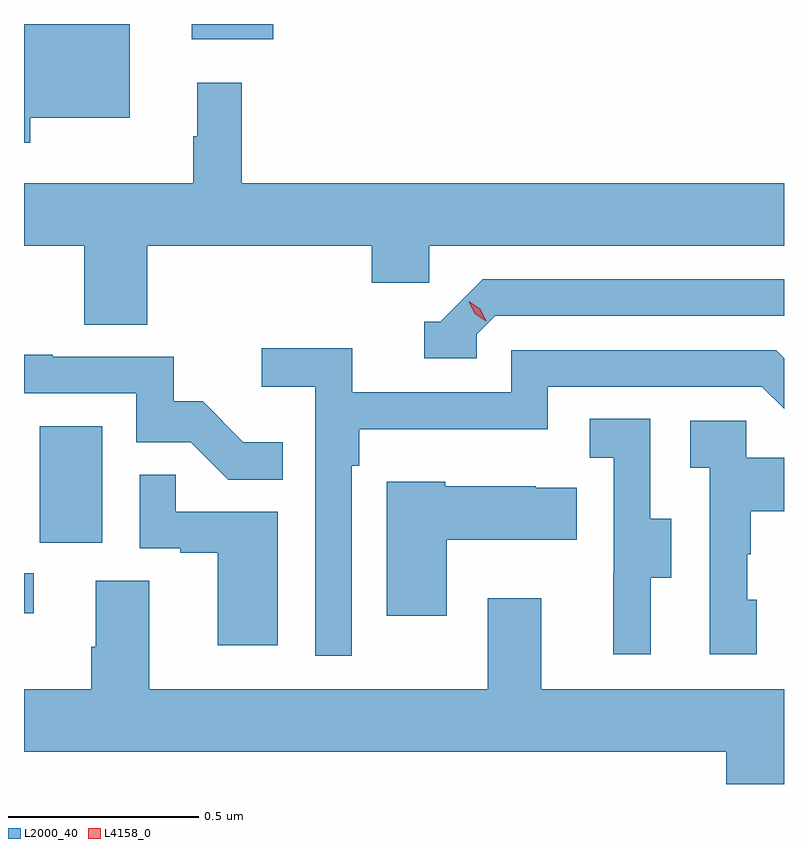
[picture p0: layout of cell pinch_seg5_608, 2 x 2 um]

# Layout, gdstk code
import gdstk
lib = gdstk.Library(unit=1e-6, precision=1e-09)
def R(c, l, rs):  # rectangles x0, y0, x1, y1
    for r in rs: c.add(gdstk.rectangle(r[:2], r[2:], *l))
def P(c, l, *ps):  # polygons
    for p in ps: c.add(gdstk.Polygon(p, *l))
L2000_40 = (2000, 40)
L4158_0 = (4158, 0)

pinch_seg5_608 = lib.new_cell('pinch_seg5_608')
R(pinch_seg5_608, L2000_40, [(1097.456,862.452,1097.482,862.557), (1097.498,862.638,1097.662,862.945), (1097.897,863.963,1098.112,864.003)])
P(pinch_seg5_608, L2000_40, [(1097.473,863.756),(1097.734,863.756),(1097.734,864.003),(1097.456,864.003),(1097.456,863.691),(1097.473,863.691)],
  [(1097.78,863.42),(1098.371,863.42),(1098.371,863.322),(1098.522,863.322),(1098.522,863.42),(1099.456,863.42),(1099.456,863.584),(1098.029,863.584),(1098.029,863.848),(1097.912,863.848),(1097.912,863.708),(1097.901,863.708),(1097.901,863.584),(1097.456,863.584),(1097.456,863.42),(1097.615,863.42),(1097.615,863.212),(1097.78,863.212)],
  [(1098.648,863.187),(1098.696,863.235),(1099.456,863.235),(1099.456,863.331),(1098.663,863.331),(1098.552,863.22),(1098.509,863.22),(1098.509,863.124),(1098.648,863.124)],
  [(1098.318,862.841),(1098.338,862.841),(1098.338,862.937),(1098.834,862.937),(1098.834,863.049),(1099.398,863.049),(1099.456,862.991),(1099.456,863.124),(1099.435,863.145),(1098.738,863.145),(1098.738,863.034),(1098.32,863.034),(1098.32,863.15),(1098.081,863.15),(1098.081,863.048),(1098.222,863.048),(1098.222,862.341),(1098.318,862.341)],
  [(1098.137,862.903),(1098.033,862.903),(1097.926,863.01),(1097.85,863.01),(1097.85,863.127),(1097.531,863.127),(1097.531,863.132),(1097.456,863.132),(1097.456,863.031),(1097.751,863.031),(1097.751,862.902),(1097.895,862.902),(1097.993,862.804),(1098.137,862.804)],
  [(1099.105,862.546),(1099.159,862.546),(1099.159,862.701),(1099.104,862.701),(1099.104,862.964),(1098.945,862.964),(1098.945,862.861),(1099.008,862.861),(1099.008,862.557),(1099.007,862.557),(1099.007,862.344),(1099.105,862.344)],
  [(1099.384,862.488),(1099.359,862.488),(1099.359,862.607),(1099.369,862.607),(1099.369,862.721),(1099.456,862.721),(1099.456,862.861),(1099.356,862.861),(1099.356,862.959),(1099.209,862.959),(1099.209,862.835),(1099.26,862.835),(1099.26,862.344),(1099.384,862.344)],
  [(1098.124,862.719),(1097.855,862.719),(1097.855,862.817),(1097.76,862.817),(1097.76,862.623),(1097.867,862.623),(1097.867,862.611),(1097.966,862.611),(1097.966,862.368),(1098.124,862.368)],
  [(1098.568,862.646),(1098.911,862.646),(1098.911,862.783),(1098.803,862.783),(1098.803,862.786),(1098.564,862.786),(1098.564,862.798),(1098.41,862.798),(1098.41,862.446),(1098.568,862.446)],
  [(1099.456,862.252),(1098.817,862.252),(1098.817,862.492),(1098.677,862.492),(1098.677,862.252),(1097.785,862.252),(1097.785,862.538),(1097.645,862.538),(1097.645,862.364),(1097.633,862.364),(1097.633,862.252),(1097.456,862.252),(1097.456,862.088),(1099.304,862.088),(1099.304,862.003),(1099.456,862.003)])
P(pinch_seg5_608, L4158_0, [(1098.672,863.221),(1098.642,863.241),(1098.626,863.274),(1098.626,863.274),(1098.626,863.274),(1098.657,863.254),(1098.673,863.222),(1098.673,863.221)])

lib.write_gds('pinch_seg5_608.gds')
